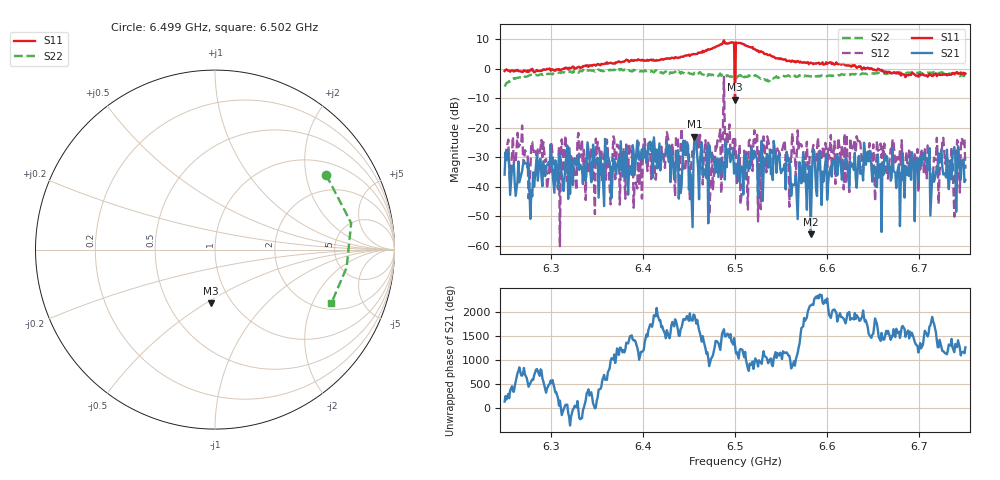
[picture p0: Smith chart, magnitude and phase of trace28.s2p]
# Hz S RI R 50
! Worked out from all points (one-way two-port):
!   401 points, 6.25 GHz to 6.75 GHz, reference 50 ohm
!   highest |S21| = -22.95 dB at 6.456 GHz (marker M1); lowest = -56.1 dB at 6.582 GHz (marker M2)
!   lowest |S11| = -10.5 dB at 6.5 GHz (marker M3), VSWR 1.86, Z = 40 - j26.3 ohm
!   |S11| at or under -10 dB: 6.499977 GHz to 6.500023 GHz (46.63 kHz wide, 0.000717 % of centre)
!   |S22| runs from -6.0 to 0.0 dB; largest |S21 - S12| = 0.73
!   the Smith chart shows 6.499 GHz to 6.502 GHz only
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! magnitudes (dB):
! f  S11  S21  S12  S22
! 6.25 GHz  -0.7  -35.9  -29.0  -6.0
! 6.274 GHz  -1.0  -32.0  -28.5  -2.6
! 6.28 GHz  0.0  -43.2  -24.8  -2.1
! 6.286 GHz  -0.7  -37.9  -27.3  -2.2
! 6.308 GHz  -0.2  -40.6  -40.8  -1.3
! 6.314 GHz  0.1  -41.4  -35.0  -1.2
! 6.334 GHz  0.6  -33.8  -23.9  -0.8
! 6.386 GHz  2.7  -33.0  -27.9  -0.6
! 6.391 GHz  3.0  -36.0  -38.9  -0.4
! 6.418 GHz  3.0  -25.3  -32.9  -1.3
! 6.456 GHz  5.0  -22.9  -27.4  -1.3
! 6.475 GHz  6.8  -29.8  -28.0  -1.9
! 6.49 GHz  8.8  -24.8  -31.1  -2.3
! 6.5 GHz  -10.5  -32.1  -23.7  -2.2
! 6.509 GHz  8.5  -42.6  -39.2  -1.8
! 6.521 GHz  6.8  -27.8  -20.8  -2.4
! 6.528 GHz  6.0  -33.6  -47.6  -3.3
! 6.534 GHz  5.1  -31.1  -35.1  -4.0
! 6.582 GHz  2.1  -56.1  -29.7  -2.5
! 6.584 GHz  1.9  -31.1  -27.7  -2.6
! 6.668 GHz  -1.0  -33.0  -29.8  -1.3
! 6.75 GHz  -1.6  -37.7  -33.9  -2.4
